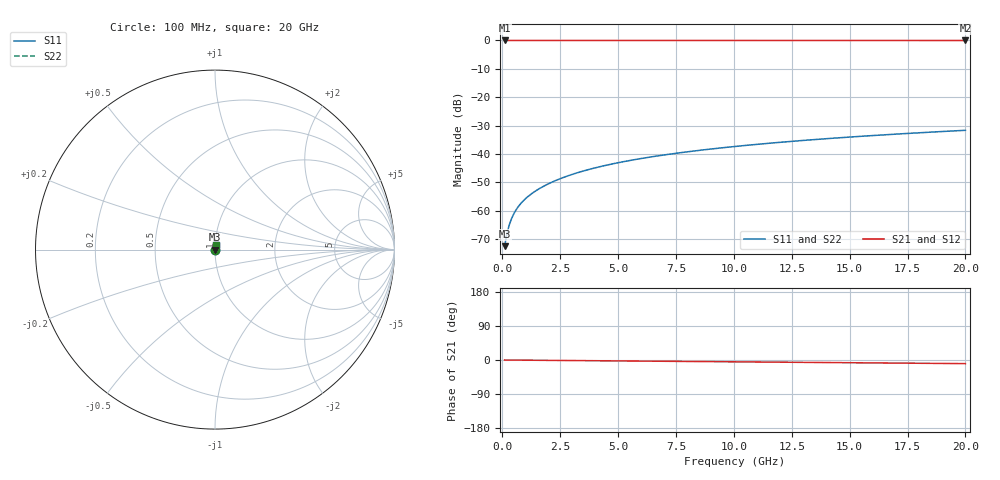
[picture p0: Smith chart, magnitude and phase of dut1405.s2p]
! Touchstone file exported from HFSS 2026.1.0
!  File:  C:/ffzhzh/LocalFiles/Ansys_Project_Files/temp_train_TSV_1405_1783196927_18472.aedt
!  Generated:  04:30:19 AM Jul  5, 2026
!  Design:  TSV
!  Project:  temp_train_TSV_1405_1783196927_18472
! Variables:
!  h_bsmrdl = 2um
!  h_ox = 20um
!  h_rdl = 5um
!  h_sub = 95.46um
!  h_tmrdl = 5um
!  h_tsv = 95.46um
!  h_via = 3um
!  l_bsmrdl = 300um
!  l_sub = 419.2um
!  l_tmrdl = 200um
!  m_sub = 200um
!  pitch = 46.98um
!  r_tsv = 9.6um
!  s_tmrdl = 10um
!  w_bsmrdl = 18um
!  w_sub = 500um
!  w_tmrdl = 12um
!  x_tsv_center1 = 206um
!  x_tsv_center2 = 524um
!  x_tsv_center3 = 736um
!  x_tsv_center4 = 1054um
!  x_tsv_center5 = 1266um
!  x_tsv_center6 = 1584um
# GHz S MA R 50.000000
! Terminal data exported
! Port[1] = TSV1_1_T1
! Port[2] = TSV1_1_T2
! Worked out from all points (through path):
!   200 points, 100 MHz to 20 GHz, reference 50 ohm
!   highest |S21| = 0.00 dB at 100 MHz (marker M1); lowest = 0.0 dB at 20 GHz (marker M2)
!   group delay of S21, straight-line fit = 1.33 ps
!   lowest |S11| = -72.5 dB at 100 MHz (marker M3), VSWR 1.00, Z = 50 + j0.0179 ohm
!   |S11| at or under -10 dB: start of sweep to end of sweep
!   |S22| runs from -72.5 to -31.7 dB; largest |S21 - S12| = 3.2e-15
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0.1  0.0002364 49.3  0.9998 -0.1  0.9998 -0.1  0.0002364 49.3
! Gamma 0 0 0 0
! Port Impedance 50 0 50 0
0.2  0.000393 64.8  0.9998 -0.1  0.9998 -0.1  0.000393 64.8
0.3  0.0005594 70.5  0.9998 -0.2  0.9998 -0.2  0.0005594 70.5
0.4  0.0007242 73.0  0.9998 -0.2  0.9998 -0.2  0.0007242 73.0
0.5  0.0008847 74.3  0.9998 -0.3  0.9998 -0.3  0.0008847 74.3
0.6  0.00104 75.1  0.9997 -0.3  0.9997 -0.3  0.00104 75.1
0.7  0.001191 75.7  0.9997 -0.3  0.9997 -0.3  0.001191 75.7
0.8  0.001338 76.1  0.9997 -0.4  0.9997 -0.4  0.001338 76.1
1  0.001622 76.9  0.9996 -0.5  0.9996 -0.5  0.001622 76.9
1.4  0.002172 78.1  0.9996 -0.7  0.9996 -0.7  0.002172 78.1
1.7  0.002579 78.9  0.9995 -0.8  0.9995 -0.8  0.002579 78.9
2  0.002984 79.5  0.9995 -1.0  0.9995 -1.0  0.002984 79.5
2.7  0.003927 80.5  0.9994 -1.3  0.9994 -1.3  0.003927 80.5
3.5  0.005001 81.1  0.9994 -1.7  0.9994 -1.7  0.005001 81.1
4.2  0.005933 81.3  0.9993 -2.0  0.9993 -2.0  0.005933 81.3
5  0.006991 81.4  0.9992 -2.4  0.9992 -2.4  0.006991 81.4
6.8  0.009344 81.3  0.9991 -3.3  0.9991 -3.3  0.009344 81.3
8.3  0.01128 81.0  0.999 -4.0  0.999 -4.0  0.01128 81.0
10.1  0.0136 80.6  0.9988 -4.8  0.9988 -4.8  0.0136 80.6
13.4  0.0178 79.6  0.9986 -6.4  0.9986 -6.4  0.0178 79.6
16.7  0.02196 78.4  0.9984 -8.0  0.9984 -8.0  0.02196 78.4
20  0.02606 77.1  0.9981 -9.6  0.9981 -9.6  0.02606 77.1
